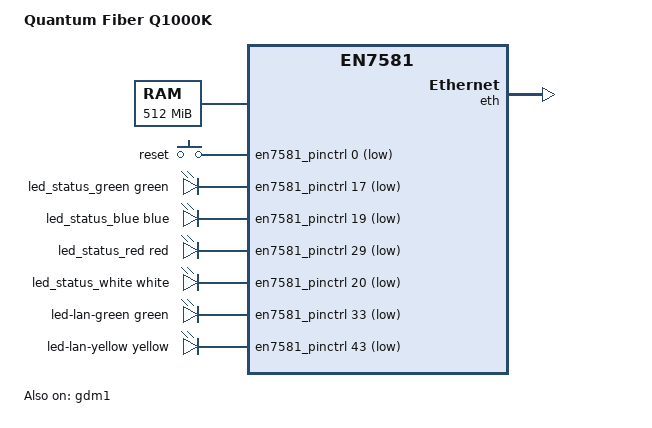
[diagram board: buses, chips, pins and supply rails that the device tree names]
// SPDX-License-Identifier: (GPL-2.0-only OR BSD-2-Clause)
/dts-v1/;

/* The vendor first-stage loader installs ATF here. */
/memreserve/ 0x80000000 0x200000;

#include <dt-bindings/gpio/gpio.h>
#include <dt-bindings/input/input.h>
#include <dt-bindings/leds/common.h>
#include "en7581.dtsi"

/ {
	model = "Quantum Fiber Q1000K";
	compatible = "quantum,q1000k", "centurylink,q1000k", "lumen,q1000k",
		     "airoha,an7581", "airoha,en7581";
	recovery-gpios = <&en7581_pinctrl 0 GPIO_ACTIVE_LOW>;
	recovery-link-mdio = <&mdio_bus>;
	recovery-link-phy-addrs = <8>;
	recovery-green-led-gpios = <&en7581_pinctrl 33 GPIO_ACTIVE_LOW>;
	recovery-yellow-led-gpios = <&en7581_pinctrl 43 GPIO_ACTIVE_LOW>;

	aliases {
		serial0 = &uart1;
		led-boot = &led_status_red;
		led-failsafe = &led_status_blue;
		led-upgrade = &led_status_white;
		led-running = &led_status_green;
	};

	chosen {
		rootdisk = <&ubi_rootfs>;
		bootargs = "console=ttyS0,115200 earlycon ubi.block=0,fit root=/dev/fit0 rootwait";
		stdout-path = "serial0:115200n8";
		linux,usable-memory-range = <0x0 0x80200000 0x0 0x1fe00000>;
	};

	memory@80000000 {
		device_type = "memory";
		reg = <0x0 0x80000000 0x0 0x20000000>;
	};

	keys {
		compatible = "gpio-keys";

		key-restart {
			label = "reset";
			gpios = <&en7581_pinctrl 0 GPIO_ACTIVE_LOW>;
			linux,code = <KEY_RESTART>;
		};
	};

	leds {
		compatible = "gpio-leds";

		led_status_green: led-status-green {
			color = <LED_COLOR_ID_GREEN>;
			function = LED_FUNCTION_STATUS;
			gpios = <&en7581_pinctrl 17 GPIO_ACTIVE_LOW>;
		};

		led_status_blue: led-status-blue {
			color = <LED_COLOR_ID_BLUE>;
			function = LED_FUNCTION_STATUS;
			gpios = <&en7581_pinctrl 19 GPIO_ACTIVE_LOW>;
		};

		led_status_red: led-status-red {
			color = <LED_COLOR_ID_RED>;
			function = LED_FUNCTION_STATUS;
			gpios = <&en7581_pinctrl 29 GPIO_ACTIVE_LOW>;
			default-state = "on";
		};

		led_status_white: led-status-white {
			color = <LED_COLOR_ID_WHITE>;
			function = LED_FUNCTION_STATUS;
			gpios = <&en7581_pinctrl 20 GPIO_ACTIVE_LOW>;
		};

		led-lan-green {
			color = <LED_COLOR_ID_GREEN>;
			function = LED_FUNCTION_LAN;
			gpios = <&en7581_pinctrl 33 GPIO_ACTIVE_LOW>;
		};

		led-lan-yellow {
			color = <LED_COLOR_ID_YELLOW>;
			function = LED_FUNCTION_LAN;
			gpios = <&en7581_pinctrl 43 GPIO_ACTIVE_LOW>;
		};
	};
};

&en7581_pinctrl {
	gpio-ranges = <&en7581_pinctrl 0 13 50>;

	mdio_pins: mdio-pins {
		mux {
			function = "mdio";
			groups = "mdio";
		};

		conf {
			pins = "gpio2";
			output-high;
		};
	};
};

&spi_nand {
	#address-cells = <1>;
	#size-cells = <1>;

	partitions {
		compatible = "fixed-partitions";
		#address-cells = <1>;
		#size-cells = <1>;

		partition@0 {
			label = "vendor";
			reg = <0x00000000 0x00600000>;
			read-only;
		};

		partition@600000 {
			label = "chainloader";
			reg = <0x00600000 0x00100000>;
			read-only;
		};

		partition@700000 {
			label = "ubi";
			reg = <0x00700000 0x1b600000>;
			compatible = "linux,ubi";

			volumes {
				ubi-volume-ubootenv {
					volname = "ubootenv";

					nvmem-layout {
						compatible = "u-boot,env-redundant-bool";
					};
				};

				ubi-volume-ubootenv2 {
					volname = "ubootenv2";

					nvmem-layout {
						compatible = "u-boot,env-redundant-bool";
					};
				};

				ubi-volume-uboot {
					volname = "uboot";
				};

				ubi_rootfs: ubi-volume-fit {
					volname = "fit";
				};
			};
		};

		partition@1bd00000 {
			label = "art";
			reg = <0x1bd00000 0x00300000>;
			read-only;
		};

		partition@1c000000 {
			label = "reserved_bmt";
			reg = <0x1c000000 0x04000000>;
			read-only;
		};

		/* Read-only access to original DSD identifiers and PON calibration. */
		partition-stock-dsd@400000 {
			label = "dsd";
			reg = <0x00400000 0x00200000>;
			read-only;
		};
	};
};

&eth {
	status = "okay";
};

&gdm1 {
	status = "okay";
};
